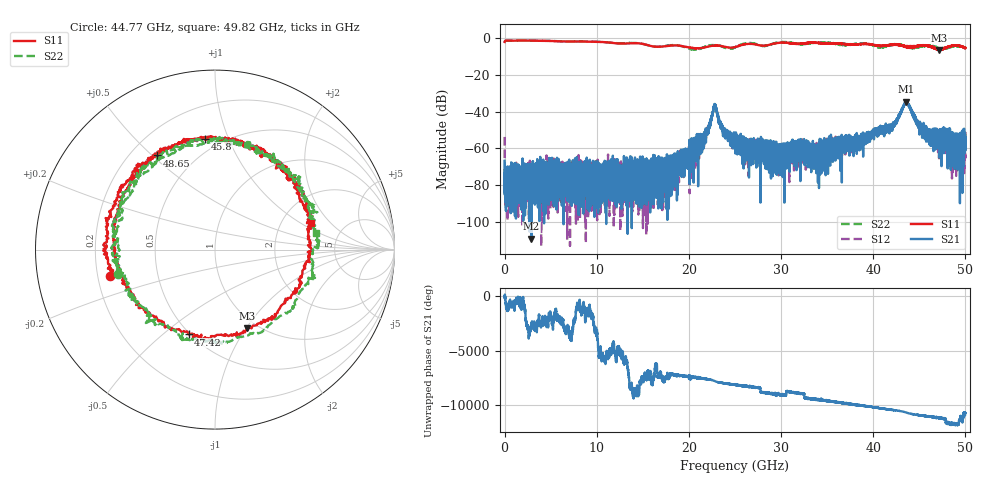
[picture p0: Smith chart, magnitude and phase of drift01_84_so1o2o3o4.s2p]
!Created with skrf (http://scikit-rf.org).
# Hz S RI R 50.0
!freq ReS11 ImS11 ReS21 ImS21 ReS12 ImS12 ReS22 ImS22
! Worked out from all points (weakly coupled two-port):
!   10001 points, 300 kHz to 50 GHz, reference 50 ohm
!   highest |S21| = -34.73 dB at 43.56 GHz (marker M1); lowest = -109.1 dB at 2.91 GHz (marker M2)
!   lowest |S11| = -6.5 dB at 47.15 GHz (marker M3), VSWR 2.79, Z = 44.8 - j50.4 ohm
!   |S11| at or under -10 dB: nowhere
!   |S22| runs from -6.4 to -1.4 dB; largest |S21 - S12| = 0.0034
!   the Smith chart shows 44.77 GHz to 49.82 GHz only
!   S11 on the Smith chart (normalised r, x): 44.77 GHz: 0.25, -0.12; 45.8 GHz: 0.41, +0.83; 47.42 GHz: 0.49, -0.61; 48.65 GHz: 0.31, +0.52; 49.82 GHz: 2.89, +1.23
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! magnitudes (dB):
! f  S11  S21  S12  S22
! 300 kHz  -2.1  -66.7  -53.8  -2.2
! 290.3 MHz  -1.4  -80.9  -76.4  -1.4
! 2.91 GHz  -1.4  -109.1  -75.3  -1.4
! 8.335 GHz  -1.9  -73.8  -74.6  -1.8
! 16.67 GHz  -4.8  -79.6  -77.8  -4.8
! 18.29 GHz  -4.1  -75.6  -73.5  -3.9
! 20.47 GHz  -5.5  -56.4  -64.9  -6.3
! 21.79 GHz  -5.0  -51.5  -51.4  -4.7
! 22.79 GHz  -4.3  -36.2  -36.4  -4.0
! 23.8 GHz  -4.7  -49.2  -51.6  -5.1
! 25 GHz  -5.0  -53.4  -54.5  -5.0
! 29.31 GHz  -3.0  -62.6  -64.2  -2.9
! 33.34 GHz  -2.6  -66.4  -63.4  -2.7
! 41.67 GHz  -3.9  -49.4  -48.8  -4.0
! 43.56 GHz  -4.7  -34.7  -35.2  -4.9
! 44.77 GHz  -4.4  -46.0  -45.2  -5.1
! 45.8 GHz  -4.2  -50.3  -54.4  -4.2
! 47.15 GHz  -6.5  -65.0  -53.1  -5.5
! 47.42 GHz  -6.1  -51.2  -55.0  -6.0
! 48.65 GHz  -4.2  -58.7  -58.6  -4.6
! 49.82 GHz  -5.1  -56.2  -56.0  -4.9
! 50 GHz  -5.4  -58.7  -61.2  -5.2
